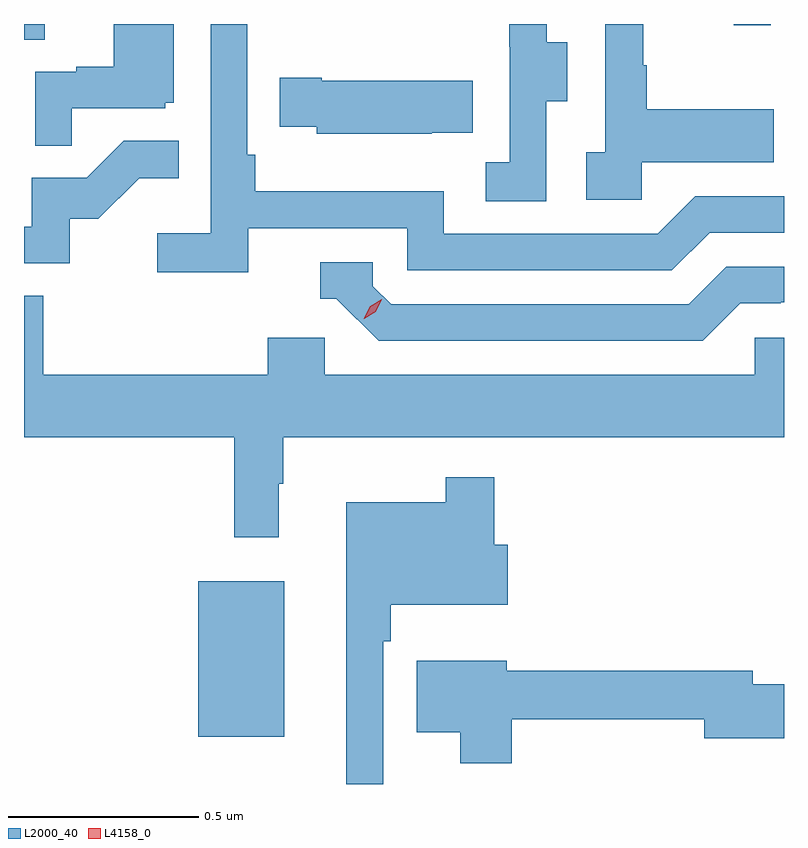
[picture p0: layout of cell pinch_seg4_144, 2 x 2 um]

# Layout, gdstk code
import gdstk
lib = gdstk.Library(unit=1e-6, precision=1e-09)
def R(c, l, rs):  # rectangles x0, y0, x1, y1
    for r in rs: c.add(gdstk.rectangle(r[:2], r[2:], *l))
def P(c, l, *ps):  # polygons
    for p in ps: c.add(gdstk.Polygon(p, *l))
L2000_40 = (2000, 40)
L4158_0 = (4158, 0)

pinch_seg4_144 = lib.new_cell('pinch_seg4_144')
R(pinch_seg4_144, L2000_40, [(1125.272,809.351,1125.499,809.761), (1124.814,811.186,1124.869,811.227), (1126.682,811.224,1126.779,811.227)])
P(pinch_seg4_144, L2000_40, [(1126.44,810.863),(1126.787,810.863),(1126.787,811.003),(1126.453,811.003),(1126.453,811.118),(1126.443,811.118),(1126.443,811.227),(1126.344,811.227),(1126.344,810.89),(1126.293,810.89),(1126.293,810.765),(1126.44,810.765)],
  [(1124.939,811.005),(1125.186,811.005),(1125.186,811.02),(1125.208,811.02),(1125.208,811.227),(1125.05,811.227),(1125.05,811.114),(1124.951,811.114),(1124.951,811.101),(1124.844,811.101),(1124.844,810.907),(1124.939,810.907)],
  [(1126.188,811.024),(1126.243,811.024),(1126.243,811.179),(1126.189,811.179),(1126.189,811.227),(1126.091,811.227),(1126.091,811.167),(1126.092,811.167),(1126.092,810.863),(1126.029,810.863),(1126.029,810.76),(1126.188,810.76)],
  [(1125.404,810.69),(1125.822,810.69),(1125.822,810.579),(1126.519,810.579),(1126.618,810.678),(1126.814,810.678),(1126.814,810.774),(1126.581,810.774),(1126.482,810.675),(1125.918,810.675),(1125.918,810.787),(1125.422,810.787),(1125.422,810.883),(1125.402,810.883),(1125.402,811.227),(1125.306,811.227),(1125.306,810.676),(1125.165,810.676),(1125.165,810.574),(1125.404,810.574)],
  [(1125.887,810.941),(1125.995,810.941),(1125.995,811.078),(1125.598,811.078),(1125.598,811.086),(1125.487,811.086),(1125.487,810.956),(1125.585,810.956),(1125.585,810.938),(1125.887,810.938)],
  [(1124.934,810.714),(1125.01,810.714),(1125.117,810.821),(1125.221,810.821),(1125.221,810.92),(1125.077,810.92),(1124.979,810.822),(1124.835,810.822),(1124.835,810.693),(1124.814,810.693),(1124.814,810.597),(1124.934,810.597)],
  [(1126.699,810.492),(1126.806,810.492),(1126.806,810.495),(1126.814,810.495),(1126.814,810.588),(1126.662,810.588),(1126.563,810.489),(1125.78,810.489),(1125.732,810.537),(1125.732,810.6),(1125.593,810.6),(1125.593,810.504),(1125.636,810.504),(1125.747,810.393),(1126.6,810.393)],
  [(1125.484,810.017),(1125.496,810.017),(1125.496,810.14),(1126.814,810.14),(1126.814,810.402),(1126.737,810.402),(1126.737,810.304),(1125.606,810.304),(1125.606,810.402),(1125.455,810.402),(1125.455,810.304),(1124.864,810.304),(1124.864,810.512),(1124.814,810.512),(1124.814,810.14),(1125.367,810.14),(1125.367,809.877),(1125.484,809.877)],
  [(1125.759,809.603),(1125.779,809.603),(1125.779,809.699),(1126.087,809.699),(1126.087,809.857),(1126.052,809.857),(1126.052,810.034),(1125.924,810.034),(1125.924,809.968),(1125.662,809.968),(1125.662,809.227),(1125.759,809.227)],
  [(1126.097,809.397),(1126.604,809.397),(1126.604,809.347),(1126.814,809.347),(1126.814,809.489),(1126.732,809.489),(1126.732,809.525),(1126.084,809.525),(1126.084,809.551),(1125.848,809.551),(1125.848,809.363),(1125.962,809.363),(1125.962,809.282),(1126.097,809.282)])
P(pinch_seg4_144, L4158_0, [(1125.708,810.451),(1125.708,810.451),(1125.725,810.484),(1125.756,810.503),(1125.756,810.503),(1125.756,810.503),(1125.74,810.47),(1125.709,810.451)])

lib.write_gds('pinch_seg4_144.gds')
